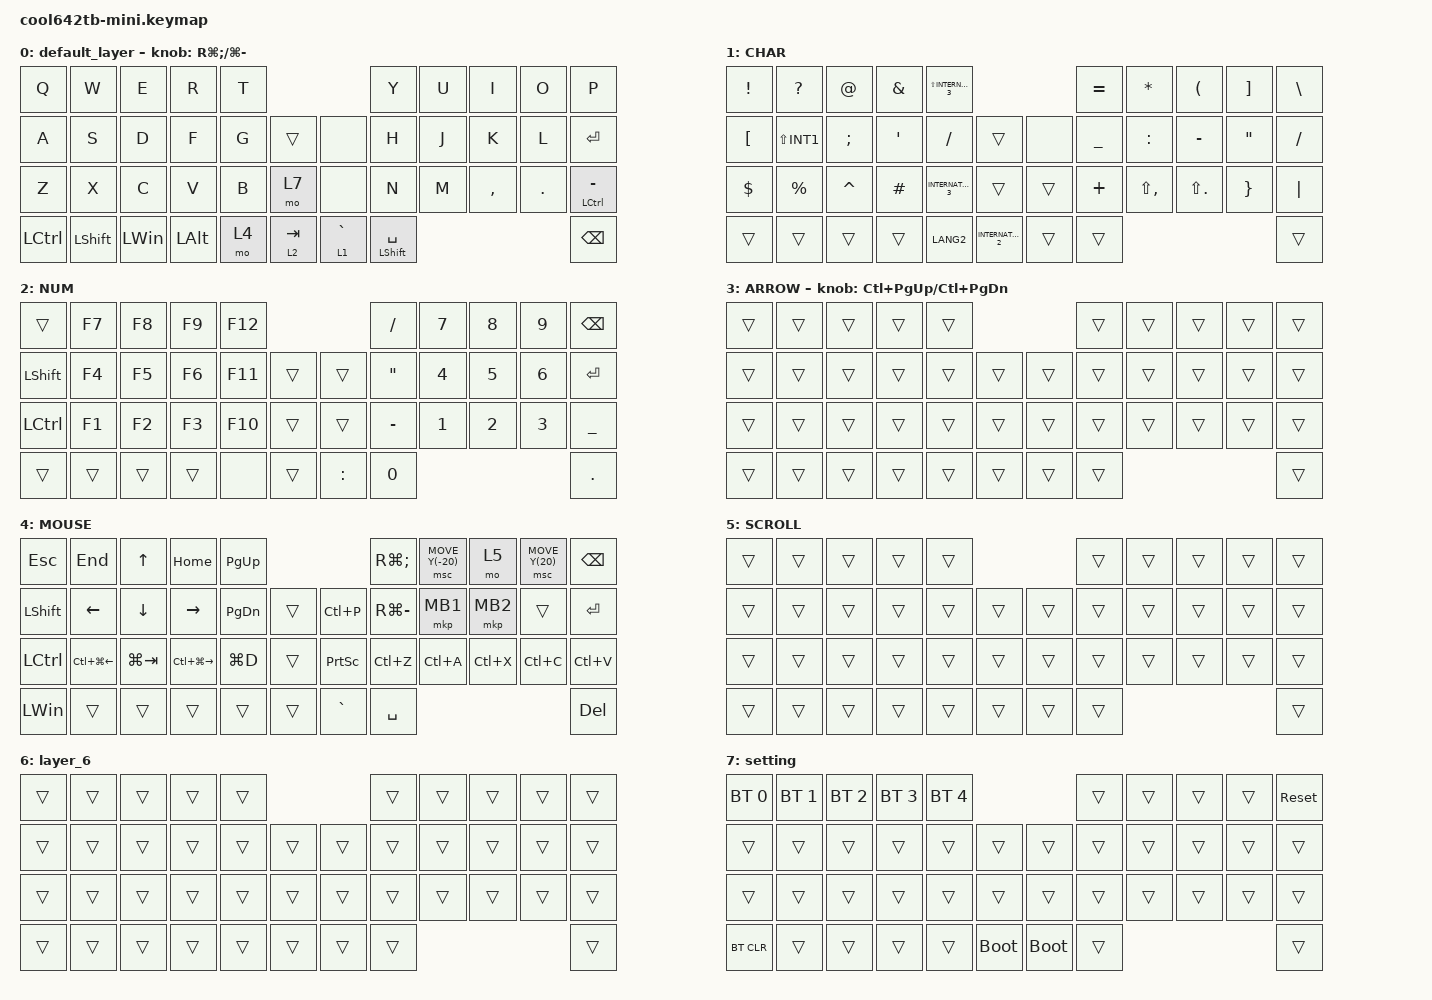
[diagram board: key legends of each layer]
#include <behaviors.dtsi>
#include <dt-bindings/zmk/bt.h>
#include <dt-bindings/zmk/keys.h>
#include <dt-bindings/zmk/pointing.h>

#define MOUSE 4
#define SCROLL 5
#define NUM 6
#define ZMK_POINTING_DEFAULT_SCRL_VAL 80

&mt {
    flavor = "balanced";
    quick-tap-ms = <0>;
};

/ {
    combos {
        compatible = "zmk,combos";

        shift_tab {
            bindings = <&kp LANG2>;
            key-positions = <12 13>;
        };

        lang {
            bindings = <&kp LANG1>;
            key-positions = <18 19>;
        };

        bs {
            bindings = <&kp BACKSPACE>;
            key-positions = <8 9>;
        };

        to_mouse_layer {
            bindings = <&tog 4>;
            key-positions = <18 20>;
        };

        del {
            bindings = <&kp DEL>;
            key-positions = <7 8>;
        };
    };

    behaviors {
        encoder_msc_down_up: encoder_msc_down_up {
            compatible = "zmk,behavior-sensor-rotate";
            label = "ENCODER_MSC_DOWN_UP";
            #sensor-binding-cells = <0>;
            bindings = <&msc SCRL_UP>, <&msc SCRL_DOWN>;

            tap-ms = <20>;
        };
    };

    keymap {
        compatible = "zmk,keymap";

        default_layer {
            bindings = <
&kp Q      &kp W       &kp E     &kp R     &kp T                              &kp Y             &kp U  &kp I      &kp O    &kp P
&kp A      &kp S       &kp D     &kp F     &kp G  &trans         &none        &kp H             &kp J  &kp K      &kp L    &kp ENTER
&kp Z      &kp X       &kp C     &kp V     &kp B  &mo 7          &none        &kp N             &kp M  &kp COMMA  &kp DOT  &mt LCTRL MINUS
&kp LCTRL  &kp LSHIFT  &kp LWIN  &kp LALT  &mo 4  &lt 2 TAB      &lt 1 GRAVE  &mt LSHIFT SPACE                             &kp BACKSPACE
            >;

            sensor-bindings = <&inc_dec_kp RG(SEMI) LG(MINUS)>;
        };

        CHAR {
            bindings = <
&kp EXCLAMATION   &kp QUESTION  &kp AT         &kp AMPERSAND     &kp LS(INTERNATIONAL_3)                                   &kp EQUAL  &kp ASTERISK   &kp LEFT_PARENTHESIS  &kp RIGHT_BRACKET  &kp BACKSLASH
&kp LEFT_BRACKET  &kp LS(INT1)  &kp SEMICOLON  &kp SINGLE_QUOTE  &kp SLASH                &trans                   &none   &kp UNDER  &kp COLON      &kp MINUS             &kp DOUBLE_QUOTES  &kp SLASH
&kp DOLLAR        &kp PERCENT   &kp CARET      &kp HASH          &kp INTERNATIONAL_3      &trans                   &trans  &kp PLUS   &kp LS(COMMA)  &kp LS(PERIOD)        &kp RIGHT_BRACE    &kp PIPE
&trans            &trans        &trans         &trans            &kp LANG2                &kp INTERNATIONAL_2      &trans  &trans                                                             &trans
            >;
        };

        NUM {
            bindings = <
&trans     &kp F7  &kp F8  &kp F9  &kp F12                         &kp SLASH          &kp N7  &kp N8  &kp N9  &kp BACKSPACE
&kp LSHFT  &kp F4  &kp F5  &kp F6  &kp F11  &trans      &trans     &kp DOUBLE_QUOTES  &kp N4  &kp N5  &kp N6  &kp ENTER
&kp LCTRL  &kp F1  &kp F2  &kp F3  &kp F10  &trans      &trans     &kp MINUS          &kp N1  &kp N2  &kp N3  &kp UNDER
&trans     &trans  &trans  &trans  &none    &trans      &kp COLON  &kp N0                                     &kp PERIOD
            >;
        };

        ARROW {
            bindings = <
&trans  &trans  &trans  &trans  &trans                      &trans  &trans  &trans  &trans  &trans
&trans  &trans  &trans  &trans  &trans  &trans      &trans  &trans  &trans  &trans  &trans  &trans
&trans  &trans  &trans  &trans  &trans  &trans      &trans  &trans  &trans  &trans  &trans  &trans
&trans  &trans  &trans  &trans  &trans  &trans      &trans  &trans                          &trans
            >;

            sensor-bindings = <&inc_dec_kp LC(PAGE_UP) LC(PAGE_DOWN)>;
        };

        MOUSE {
            bindings = <
&kp ESCAPE    &kp END                 &kp UP_ARROW  &kp HOME                 &kp PAGE_UP                                 &kp RG(SEMI)   &msc MOVE_Y(-20)  &mo 5      &msc MOVE_Y(20)  &kp BACKSPACE
&kp LSHFT     &kp LEFT                &kp DOWN      &kp RIGHT_ARROW          &kp PAGE_DOWN  &trans      &kp LC(P)        &kp RG(MINUS)  &mkp MB1          &mkp MB2   &trans           &kp ENTER
&kp LCTRL     &kp LC(LG(LEFT_ARROW))  &kp LG(TAB)   &kp LC(LG(RIGHT_ARROW))  &kp LG(D)      &trans      &kp PRINTSCREEN  &kp LC(Z)      &kp LC(A)         &kp LC(X)  &kp LC(C)        &kp LC(V)
&kp LEFT_WIN  &trans                  &trans        &trans                   &trans         &trans      &kp GRAVE        &kp SPACE                                                    &kp DEL
            >;
        };

        SCROLL {
            bindings = <
&trans  &trans  &trans  &trans  &trans                      &trans  &trans  &trans  &trans  &trans
&trans  &trans  &trans  &trans  &trans  &trans      &trans  &trans  &trans  &trans  &trans  &trans
&trans  &trans  &trans  &trans  &trans  &trans      &trans  &trans  &trans  &trans  &trans  &trans
&trans  &trans  &trans  &trans  &trans  &trans      &trans  &trans                          &trans
            >;
        };

        layer_6 {
            bindings = <
&trans  &trans  &trans  &trans  &trans                      &trans  &trans  &trans  &trans  &trans
&trans  &trans  &trans  &trans  &trans  &trans      &trans  &trans  &trans  &trans  &trans  &trans
&trans  &trans  &trans  &trans  &trans  &trans      &trans  &trans  &trans  &trans  &trans  &trans
&trans  &trans  &trans  &trans  &trans  &trans      &trans  &trans                          &trans
            >;
        };

        setting {
            bindings = <
&bt BT_SEL 0  &bt BT_SEL 1  &bt BT_SEL 2  &bt BT_SEL 3  &bt BT_SEL 4                                &trans  &trans  &trans  &trans  &sys_reset
&trans        &trans        &trans        &trans        &trans        &trans           &trans       &trans  &trans  &trans  &trans  &trans
&trans        &trans        &trans        &trans        &trans        &trans           &trans       &trans  &trans  &trans  &trans  &trans
&bt BT_CLR    &trans        &trans        &trans        &trans        &bootloader      &bootloader  &trans                          &trans
            >;
        };
    };
};
